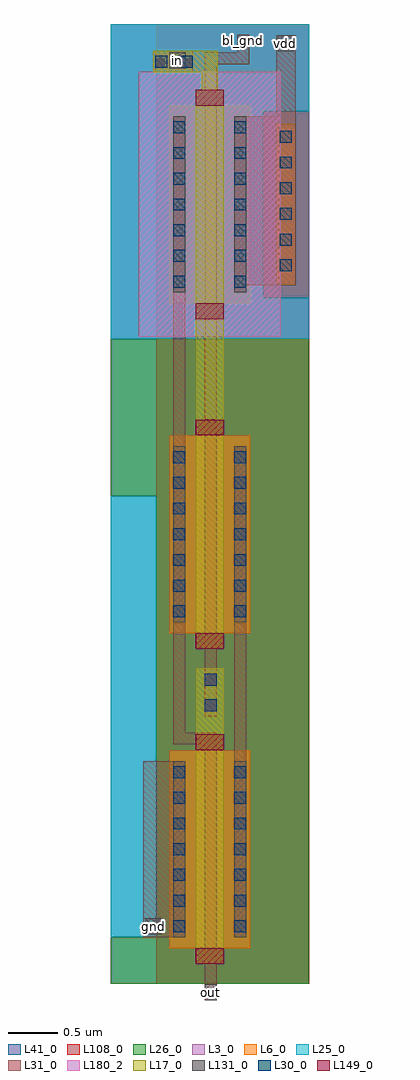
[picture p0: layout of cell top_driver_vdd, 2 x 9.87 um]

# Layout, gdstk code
from math import pi, radians
import gdstk
lib = gdstk.Library(unit=1e-6, precision=1e-09)
def R(c, l, rs):  # rectangles x0, y0, x1, y1
    for r in rs: c.add(gdstk.rectangle(r[:2], r[2:], *l))
def A(c, l, x, y, w, h, nx, ny, dx, dy):  # array of equal rectangles
    R(c, l, [(x+i*dx, y+j*dy, x+i*dx+w, y+j*dy+h) for i in range(nx) for j in range(ny)])
L3_0 = (3, 0)
L6_0 = (6, 0)
L17_0 = (17, 0)
L25_0 = (25, 0)
L26_0 = (26, 0)
L30_0 = (30, 0)
L31_0 = (31, 0)
L41_0 = (41, 0)
L108_0 = (108, 0)
L131_0 = (131, 0)
L149_0 = (149, 0)
L180_2 = (180, 2)

pc_ct = lib.new_cell('pc_ct')
R(pc_ct, L30_0, [(0,0,0.12,0.12)])

psvt25_cdns_587681824840 = lib.new_cell('psvt25_CDNS_587681824840')
R(psvt25_cdns_587681824840, L3_0, [(-0.58,-0.34,0.86,2.34)])
R(psvt25_cdns_587681824840, L6_0, [(-0.27,0,0,2), (-0.27,0,0.55,2), (0.28,0,0.55,2)])
R(psvt25_cdns_587681824840, L17_0, [(0,-0.16,0.28,2.16)])
R(psvt25_cdns_587681824840, L25_0, [(-0.4,-0.36,0.68,2.36)])
R(psvt25_cdns_587681824840, L31_0, [(-0.23,0.11,-0.11,1.89), (0.39,0.11,0.51,1.89)])
R(psvt25_cdns_587681824840, L41_0, [(-0.58,-0.34,0.86,2.34)])
R(psvt25_cdns_587681824840, L131_0, [(-0.23,0.11,-0.11,1.89), (0.39,0.11,0.51,1.89)])
R(psvt25_cdns_587681824840, L149_0, [(0,-0.16,0.28,0), (0,2,0.28,2.16)])
R(psvt25_cdns_587681824840, L180_2, [(-0.58,-0.34,0.86,2.34)])
r = gdstk.Reference(pc_ct, (0.39,0.16)); r.repetition = gdstk.Repetition(1, 7, v1=(0.26,0), v2=(0,0.26)); psvt25_cdns_587681824840.add(r)
r = gdstk.Reference(pc_ct, (-0.23,0.16)); r.repetition = gdstk.Repetition(1, 7, v1=(0.26,0), v2=(0,0.26)); psvt25_cdns_587681824840.add(r)
psvt25_cdns_587681824840.add(gdstk.Label('d', (0.28,0), layer=6, texttype=0))
psvt25_cdns_587681824840.add(gdstk.Label('s', (0,0), layer=6, texttype=0))
psvt25_cdns_587681824840.add(gdstk.Label('d', (0.415,1), layer=127, texttype=0))
psvt25_cdns_587681824840.add(gdstk.Label('s', (-0.135,1), layer=127, texttype=0))
psvt25_cdns_587681824840.add(gdstk.Label('d', (0.45,1), layer=131, texttype=0))
psvt25_cdns_587681824840.add(gdstk.Label('s', (-0.17,1), layer=131, texttype=0))
psvt25_cdns_587681824840.add(gdstk.Label('g', (0.14,2.08), layer=149, texttype=0))
psvt25_cdns_587681824840.add(gdstk.Label('g', (0.14,-0.08), layer=149, texttype=0))
psvt25_cdns_587681824840.add(gdstk.Label('b', (0.14,1), layer=180, texttype=2))

nsvt25_cdns_587681824841 = lib.new_cell('nsvt25_CDNS_587681824841')
R(nsvt25_cdns_587681824841, L6_0, [(-0.27,0,0,2), (-0.27,0,0.55,2), (0.28,0,0.55,2)])
R(nsvt25_cdns_587681824841, L17_0, [(0,-0.16,0.28,2.16)])
R(nsvt25_cdns_587681824841, L26_0, [(-0.4,-0.36,0.68,2.36)])
R(nsvt25_cdns_587681824841, L31_0, [(-0.23,0.11,-0.11,1.89), (0.39,0.11,0.51,1.89)])
R(nsvt25_cdns_587681824841, L41_0, [(-0.54,-0.34,0.82,2.34)])
R(nsvt25_cdns_587681824841, L131_0, [(-0.23,0.11,-0.11,1.89), (0.39,0.11,0.51,1.89)])
R(nsvt25_cdns_587681824841, L149_0, [(0,-0.16,0.28,0), (0,2,0.28,2.16)])
r = gdstk.Reference(pc_ct, (0.39,0.16)); r.repetition = gdstk.Repetition(1, 7, v1=(0.26,0), v2=(0,0.26)); nsvt25_cdns_587681824841.add(r)
r = gdstk.Reference(pc_ct, (-0.23,0.16)); r.repetition = gdstk.Repetition(1, 7, v1=(0.26,0), v2=(0,0.26)); nsvt25_cdns_587681824841.add(r)
nsvt25_cdns_587681824841.add(gdstk.Label('d', (0.28,0), layer=6, texttype=0))
nsvt25_cdns_587681824841.add(gdstk.Label('s', (0,0), layer=6, texttype=0))
nsvt25_cdns_587681824841.add(gdstk.Label('d', (0.415,1), layer=127, texttype=0))
nsvt25_cdns_587681824841.add(gdstk.Label('s', (-0.135,1), layer=127, texttype=0))
nsvt25_cdns_587681824841.add(gdstk.Label('d', (0.45,1), layer=131, texttype=0))
nsvt25_cdns_587681824841.add(gdstk.Label('s', (-0.17,1), layer=131, texttype=0))
nsvt25_cdns_587681824841.add(gdstk.Label('g', (0.14,2.08), layer=149, texttype=0))
nsvt25_cdns_587681824841.add(gdstk.Label('g', (0.14,-0.08), layer=149, texttype=0))

m1__po_cdns_587681824840 = lib.new_cell('M1__PO_CDNS_587681824840')
R(m1__po_cdns_587681824840, L17_0, [(-0.08,-0.24,0.08,0.24)])
R(m1__po_cdns_587681824840, L30_0, [(-0.06,-0.19,0.06,-0.07), (-0.06,0.07,0.06,0.19)])
R(m1__po_cdns_587681824840, L31_0, [(-0.06,-0.24,0.06,0.24)])

m1__po_cdns_587681824841 = lib.new_cell('M1__PO_CDNS_587681824841')
R(m1__po_cdns_587681824841, L17_0, [(-0.21,-0.11,0.21,0.11)])
R(m1__po_cdns_587681824841, L30_0, [(-0.19,-0.06,-0.07,0.06), (0.07,-0.06,0.19,0.06)])
R(m1__po_cdns_587681824841, L31_0, [(-0.19,-0.11,0.19,0.11)])

top_driver_vdd = lib.new_cell('top_driver_vdd')
R(top_driver_vdd, L3_0, [(-0.325,6.455,1.68,9.64)])
R(top_driver_vdd, L17_0, [(0.525,9.31,0.755,9.37)])
R(top_driver_vdd, L25_0, [(-0.325,0.405,0.135,4.865), (-0.325,6.455,0.135,9.175), (1.215,6.455,1.675,6.87), (1.215,8.76,1.68,9.175), (-0.325,9.175,1.68,9.64)])
R(top_driver_vdd, L26_0, [(-0.325,-0.065,0.135,0.405), (1.215,-0.065,1.675,6.455), (0.135,2.655,1.215,2.94), (0.135,2.94,1.215,3.12), (-0.325,4.865,0.135,6.455), (0.135,5.84,1.215,6.455)])
A(top_driver_vdd, L30_0, 1.385, 7.14, 0.12, 0.12, 1, 6, 0, 0.26)
R(top_driver_vdd, L31_0, [(0,0.405,0.305,2.185), (1.045,7,1.35,8.705)])
R(top_driver_vdd, L41_0, [(-0.325,-0.065,1.68,9.64)])
R(top_driver_vdd, L108_0, [(0.135,-0.065,1.68,9.64)])
R(top_driver_vdd, L131_0, [(0.625,-0.23,0.745,-0.07), (0.025,0.435,0.185,0.595), (0.27,9.195,0.43,9.355), (1.365,9.365,1.525,9.525), (0.955,9.41,1.075,9.53)])
top_driver_vdd.add(gdstk.FlexPath([(1.445,8.63),(1.445,7)], 0.2, ends="flush", simple_path=True, layer=6, datatype=0))  # L6_0
top_driver_vdd.add(gdstk.FlexPath([(0.985,3.59),(0.985,2.185)], 0.12, ends="flush", simple_path=True, layer=31, datatype=0))  # L31_0
top_driver_vdd.add(gdstk.FlexPath([(1.445,8.63),(1.445,9.525)], 0.2, ends="flush", simple_path=True, layer=31, datatype=0))  # L31_0
top_driver_vdd.add(gdstk.FlexPath([(1.015,9.295),(1.015,9.53)], 0.12, ends=(0.06, 0), simple_path=True, layer=31, datatype=0))  # L31_0
top_driver_vdd.add(gdstk.FlexPath([(0.685,9.295),(1.015,9.295)], 0.12, ends="extended", simple_path=True, layer=31, datatype=0))  # L31_0
top_driver_vdd.add(gdstk.FlexPath([(0.685,2.88),(0.685,9.295)], 0.12, ends=(0, 0.06), simple_path=True, layer=31, datatype=0))  # L31_0
top_driver_vdd.add(gdstk.FlexPath([(0.365,3.59),(0.365,2.415)], 0.12, ends=(0, 0.06), simple_path=True, layer=31, datatype=0))  # L31_0
top_driver_vdd.add(gdstk.FlexPath([(0.365,2.415),(0.685,2.415)], 0.12, ends="extended", simple_path=True, layer=31, datatype=0))  # L31_0
top_driver_vdd.add(gdstk.FlexPath([(0.685,2.415),(0.685,-0.23)], 0.12, ends=(0.06, 0), simple_path=True, layer=31, datatype=0))  # L31_0
top_driver_vdd.add(gdstk.FlexPath([(0.365,6.925),(0.365,5.37)], 0.12, ends="flush", simple_path=True, layer=31, datatype=0))  # L31_0
top_driver_vdd.add(gdstk.FlexPath([(1.445,8.63),(1.445,7)], 0.2, ends="flush", simple_path=True, layer=31, datatype=0))  # L31_0
top_driver_vdd.add(gdstk.FlexPath([(0.675,8.975),(0.675,9.23)], 0.16, ends=(0, 0.08), simple_path=True, layer=17, datatype=0))  # L17_0
top_driver_vdd.add(gdstk.FlexPath([(0.675,9.23),(0.155,9.23)], 0.16, ends=(0.08, 0), simple_path=True, layer=17, datatype=0))  # L17_0
top_driver_vdd.add(gdstk.FlexPath([(0.675,2.455),(0.675,3.125)], 0.28, ends="flush", simple_path=True, layer=17, datatype=0))  # L17_0
top_driver_vdd.add(gdstk.FlexPath([(0.675,6.655),(0.675,5.57)], 0.28, ends="flush", simple_path=True, layer=17, datatype=0))  # L17_0
top_driver_vdd.add(gdstk.FlexPath([(1.445,8.76),(1.445,6.87)], 0.46, ends="flush", simple_path=True, layer=26, datatype=0))  # L26_0
top_driver_vdd.add(gdstk.Reference(psvt25_cdns_587681824840, (0.815,6.815), rotation=pi, x_reflection=True))
top_driver_vdd.add(gdstk.Reference(nsvt25_cdns_587681824841, (0.815,3.48), rotation=pi, x_reflection=True))
top_driver_vdd.add(gdstk.Reference(nsvt25_cdns_587681824841, (0.535,0.295)))
top_driver_vdd.add(gdstk.Reference(m1__po_cdns_587681824840, (0.685,2.88), rotation=pi, x_reflection=True))
top_driver_vdd.add(gdstk.Reference(m1__po_cdns_587681824841, (0.315,9.26), x_reflection=True))
top_driver_vdd.add(gdstk.Label('vdd', (1.445,9.445), layer=131, texttype=0))
top_driver_vdd.add(gdstk.Label('out', (0.685,-0.15), layer=131, texttype=0))
top_driver_vdd.add(gdstk.Label('bl_gnd', (1.015,9.47), layer=131, texttype=0))
top_driver_vdd.add(gdstk.Label('gnd', (0.105,0.515), layer=131, texttype=0))
top_driver_vdd.add(gdstk.Label('in', (0.35,9.275), layer=131, texttype=0))

lib.write_gds('top_driver_vdd.gds')
